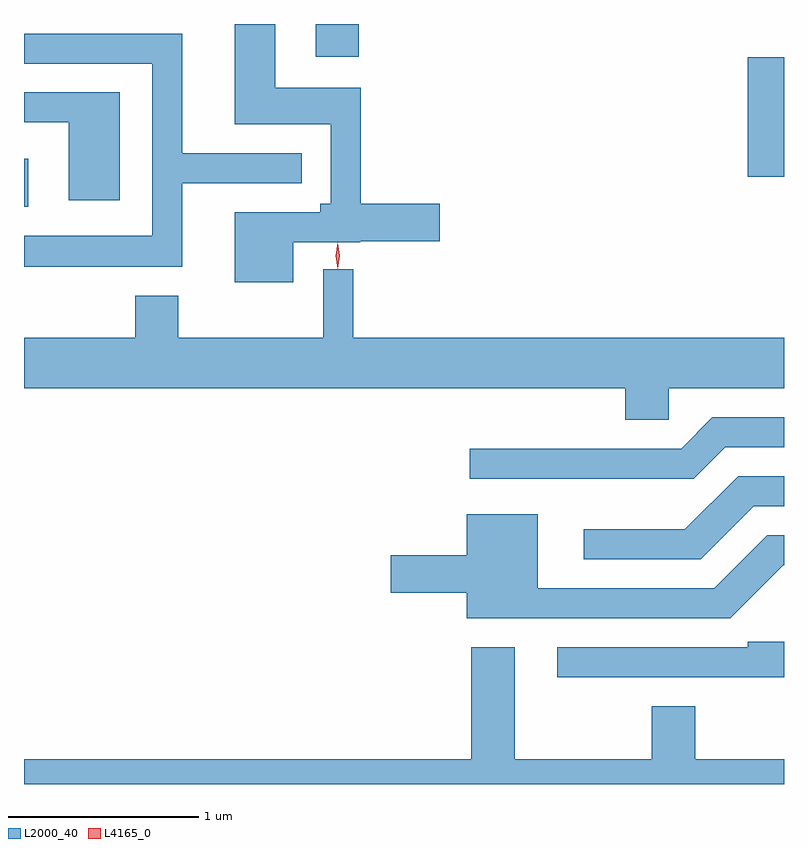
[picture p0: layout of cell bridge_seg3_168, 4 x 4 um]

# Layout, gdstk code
import gdstk
lib = gdstk.Library(unit=1e-6, precision=1e-09)
def R(c, l, rs):  # rectangles x0, y0, x1, y1
    for r in rs: c.add(gdstk.rectangle(r[:2], r[2:], *l))
def P(c, l, *ps):  # polygons
    for p in ps: c.add(gdstk.Polygon(p, *l))
L2000_40 = (2000, 40)
L4165_0 = (4165, 0)

bridge_seg3_168 = lib.new_cell('bridge_seg3_168')
R(bridge_seg3_168, L2000_40, [(723.566,1198.011,723.589,1198.264), (727.376,1198.171,727.566,1198.799), (725.101,1198.801,725.329,1198.974)])
P(bridge_seg3_168, L2000_40, [(724.984,1197.826),(725.335,1197.826),(725.335,1197.831),(725.754,1197.831),(725.754,1198.029),(725.339,1198.029),(725.339,1198.639),(724.889,1198.639),(724.889,1198.974),(724.676,1198.974),(724.676,1198.446),(725.181,1198.446),(725.181,1198.029),(725.126,1198.029),(725.126,1197.984),(724.676,1197.984),(724.676,1197.616),(724.984,1197.616)],
  [(724.399,1198.136),(725.028,1198.136),(725.028,1198.294),(724.399,1198.294),(724.399,1198.924),(723.566,1198.924),(723.566,1198.766),(724.241,1198.766),(724.241,1197.859),(723.566,1197.859),(723.566,1197.696),(724.399,1197.696)],
  [(724.069,1198.614),(723.566,1198.614),(723.566,1198.456),(723.801,1198.456),(723.801,1198.046),(724.069,1198.046)],
  [(726.959,1197.056),(727.566,1197.056),(727.566,1197.324),(725.299,1197.324),(725.299,1197.683),(725.141,1197.683),(725.141,1197.324),(724.379,1197.324),(724.379,1197.544),(724.151,1197.544),(724.151,1197.324),(723.566,1197.324),(723.566,1197.056),(726.731,1197.056),(726.731,1196.891),(726.959,1196.891)],
  [(727.257,1196.746),(727.566,1196.746),(727.566,1196.904),(727.189,1196.904),(727.024,1196.739),(725.913,1196.739),(725.913,1196.581),(727.092,1196.581)],
  [(727.407,1196.436),(727.566,1196.436),(727.566,1196.594),(727.324,1196.594),(727.044,1196.314),(726.513,1196.314),(726.513,1196.156),(727.127,1196.156)],
  [(727.562,1196.126),(727.566,1196.126),(727.566,1196.284),(727.479,1196.284),(727.199,1196.004),(726.269,1196.004),(726.269,1196.394),(725.896,1196.394),(725.896,1196.179),(725.496,1196.179),(725.496,1195.981),(725.896,1195.981),(725.896,1195.846),(727.282,1195.846)],
  [(727.566,1195.724),(727.376,1195.724),(727.376,1195.694),(726.373,1195.694),(726.373,1195.536),(727.566,1195.536)],
  [(727.566,1195.104),(727.099,1195.104),(727.099,1195.384),(726.871,1195.384),(726.871,1195.104),(726.149,1195.104),(726.149,1195.694),(725.921,1195.694),(725.921,1195.104),(723.566,1195.104),(723.566,1194.974),(727.566,1194.974)])
P(bridge_seg3_168, L4165_0, [(725.217,1197.685),(725.208,1197.754),(725.217,1197.823),(725.218,1197.823),(725.218,1197.823),(725.228,1197.754),(725.218,1197.685),(725.218,1197.685)],
  [(725.218,1197.688),(725.217,1197.689),(725.208,1197.754),(725.217,1197.82),(725.218,1197.821),(725.218,1197.82),(725.228,1197.754),(725.218,1197.689)])

lib.write_gds('bridge_seg3_168.gds')
